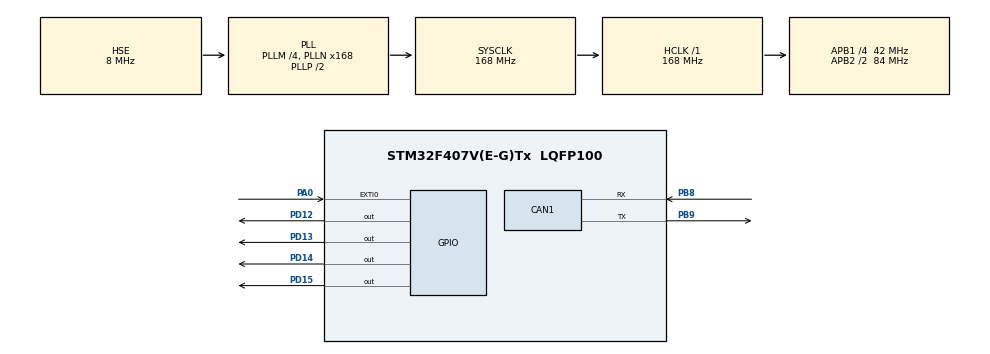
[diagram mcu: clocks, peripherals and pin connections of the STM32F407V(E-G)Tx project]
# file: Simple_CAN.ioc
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CAN1.BS1=CAN_BS1_3TQ
CAN1.BS2=CAN_BS2_5TQ
CAN1.CalculateTimeBit=3428
CAN1.CalculateTimeQuantum=380.95238095238096
Mcu.Family=STM32F4
Mcu.Name=STM32F407V(E-G)Tx
Mcu.Package=LQFP100
NVIC.CAN1_RX0_IRQn=true\:0\:0\:false\:false\:true
NVIC.EXTI0_IRQn=true\:0\:1\:false\:false\:true
NVIC.PriorityGroup=NVIC_PRIORITYGROUP_0
PA0-WKUP.Signal=GPXTI0
PB8.Mode=Master
PB8.Signal=CAN1_RX
PB9.Mode=Master
PB9.Signal=CAN1_TX
PD12.Signal=GPIO_Output
PD13.Signal=GPIO_Output
PD14.Signal=GPIO_Output
PD15.Signal=GPIO_Output
PH0-OSC_IN.Mode=HSE-External-Oscillator
PH0-OSC_IN.Signal=RCC_OSC_IN
PH1-OSC_OUT.Mode=HSE-External-Oscillator
PH1-OSC_OUT.Signal=RCC_OSC_OUT
ProjectManager.HeapSize=0x200
ProjectManager.StackSize=0x400
ProjectManager.TargetToolchain=MDK-ARM V5
RCC.48MHZClocksFreq_Value=48000000
RCC.AHBFreq_Value=168000000
RCC.APB1CLKDivider=RCC_HCLK_DIV4
RCC.APB1Freq_Value=42000000
RCC.APB1TimFreq_Value=84000000
RCC.APB2CLKDivider=RCC_HCLK_DIV2
RCC.APB2Freq_Value=84000000
RCC.APB2TimFreq_Value=168000000
RCC.CortexFreq_Value=168000000
RCC.HCLKFreq_Value=168000000
RCC.HSE_VALUE=8000000
RCC.HSI_VALUE=16000000
RCC.LSE_VALUE=32768
RCC.PLLM=4
RCC.PLLN=168
RCC.PLLQ=7
RCC.PLLSourceVirtual=RCC_PLLSOURCE_HSE
RCC.SYSCLKFreq_VALUE=168000000
RCC.SYSCLKSource=RCC_SYSCLKSOURCE_PLLCLK
RCC.VCOOutputFreq_Value=336000000
board=STM32F4DISCOVERY

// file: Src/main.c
/**
  ******************************************************************************
  * File Name          : main.c
  * Description        : Main program body
  ******************************************************************************
  *
  * COPYRIGHT(c) 2017 STMicroelectronics
  *
  * Redistribution and use in source and binary forms, with or without modification,
  * are permitted provided that the following conditions are met:
  *   1. Redistributions of source code must retain the above copyright notice,
  *      this list of conditions and the following disclaimer.
  *   2. Redistributions in binary form must reproduce the above copyright notice,
  *      this list of conditions and the following disclaimer in the documentation
  *      and/or other materials provided with the distribution.
  *   3. Neither the name of STMicroelectronics nor the names of its contributors
  *      may be used to endorse or promote products derived from this software
  *      without specific prior written permission.
  *
  * THIS SOFTWARE IS PROVIDED BY THE COPYRIGHT HOLDERS AND CONTRIBUTORS "AS IS"
  * AND ANY EXPRESS OR IMPLIED WARRANTIES, INCLUDING, BUT NOT LIMITED TO, THE
  * IMPLIED WARRANTIES OF MERCHANTABILITY AND FITNESS FOR A PARTICULAR PURPOSE ARE
  * DISCLAIMED. IN NO EVENT SHALL THE COPYRIGHT HOLDER OR CONTRIBUTORS BE LIABLE
  * FOR ANY DIRECT, INDIRECT, INCIDENTAL, SPECIAL, EXEMPLARY, OR CONSEQUENTIAL
  * DAMAGES (INCLUDING, BUT NOT LIMITED TO, PROCUREMENT OF SUBSTITUTE GOODS OR
  * SERVICES; LOSS OF USE, DATA, OR PROFITS; OR BUSINESS INTERRUPTION) HOWEVER
  * CAUSED AND ON ANY THEORY OF LIABILITY, WHETHER IN CONTRACT, STRICT LIABILITY,
  * OR TORT (INCLUDING NEGLIGENCE OR OTHERWISE) ARISING IN ANY WAY OUT OF THE USE
  * OF THIS SOFTWARE, EVEN IF ADVISED OF THE POSSIBILITY OF SUCH DAMAGE.
  *
  ******************************************************************************
  */
#include "stm32f4xx_hal.h"

CAN_HandleTypeDef hcan1;

/* USER CODE BEGIN PV */
CanTxMsgTypeDef   TxM;
CanRxMsgTypeDef   RxM;

CAN_FilterConfTypeDef sFilterConfig;

uint32_t a;
/* Private variables ---------------------------------------------------------*/

/* USER CODE END PV */

void SystemClock_Config(void);
void Error_Handler(void);
static void MX_GPIO_Init(void);
static void MX_CAN1_Init(void);

/* USER CODE BEGIN PFP */
/* Private function prototypes -----------------------------------------------*/

/* USER CODE END PFP */

int main(void)
{

  /* MCU Configuration----------------------------------------------------------*/

  /* Reset of all peripherals, Initializes the Flash interface and the Systick. */
  HAL_Init();

  /* Configure the system clock */
  SystemClock_Config();

  /* Initialize all configured peripherals */
  MX_GPIO_Init();
  MX_CAN1_Init();

  /* USER CODE BEGIN 2 */
hcan1.pTxMsg=&TxM;
hcan1.pRxMsg=&RxM;

sFilterConfig.FilterNumber=0;
sFilterConfig.FilterMode=CAN_FILTERMODE_IDLIST;
sFilterConfig.FilterScale=CAN_FILTERSCALE_32BIT;
#sFilterConfig.FilterIdHigh=0x123<<5;
sFilterConfig.FilterIdHigh=0x125<<5;
sFilterConfig.FilterIdLow=0;
sFilterConfig.FilterMaskIdHigh=0;
sFilterConfig.FilterMaskIdLow=0;
sFilterConfig.FilterFIFOAssignment=0;
sFilterConfig.BankNumber=14;

HAL_CAN_ConfigFilter(&hcan1,&sFilterConfig);

hcan1.pTxMsg->StdId=0x225;
#hcan1.pTxMsg->StdId=0x222;
hcan1.pTxMsg->RTR=CAN_RTR_DATA;
hcan1.pTxMsg->IDE=CAN_ID_STD;
hcan1.pTxMsg->DLC=1;

//HAL_CAN_Receive_IT(&hcan1,CAN_FIFO0);

  /* USER CODE END 2 */

  /* Infinite loop */
  while (1)
  {

	# if(HAL_CAN_Receive_IT(&hcan1,CAN_FIFO0))
	 if(HAL_CAN_Transmit_IT(&hcan1,CAN_FIFO0))

	  {
		#HAL_GPIO_TogglePin(GPIOD,GPIO_PIN_12);
		HAL_GPIO_TogglePin(GPIOD,GPIO_PIN_13);
	}

  }

}

/** System Clock Configuration
*/
void SystemClock_Config(void)
{

  RCC_OscInitTypeDef RCC_OscInitStruct;
  RCC_ClkInitTypeDef RCC_ClkInitStruct;

  __HAL_RCC_PWR_CLK_ENABLE();

  __HAL_PWR_VOLTAGESCALING_CONFIG(PWR_REGULATOR_VOLTAGE_SCALE1);

  RCC_OscInitStruct.OscillatorType = RCC_OSCILLATORTYPE_HSE;
  RCC_OscInitStruct.HSEState = RCC_HSE_ON;
  RCC_OscInitStruct.PLL.PLLState = RCC_PLL_ON;
  RCC_OscInitStruct.PLL.PLLSource = RCC_PLLSOURCE_HSE;
  RCC_OscInitStruct.PLL.PLLM = 4;
  RCC_OscInitStruct.PLL.PLLN = 168;
  RCC_OscInitStruct.PLL.PLLP = RCC_PLLP_DIV2;
  RCC_OscInitStruct.PLL.PLLQ = 7;
  if (HAL_RCC_OscConfig(&RCC_OscInitStruct) != HAL_OK)
  {
    Error_Handler();
  }

  RCC_ClkInitStruct.ClockType = RCC_CLOCKTYPE_HCLK|RCC_CLOCKTYPE_SYSCLK
                              |RCC_CLOCKTYPE_PCLK1|RCC_CLOCKTYPE_PCLK2;
  RCC_ClkInitStruct.SYSCLKSource = RCC_SYSCLKSOURCE_PLLCLK;
  RCC_ClkInitStruct.AHBCLKDivider = RCC_SYSCLK_DIV1;
  RCC_ClkInitStruct.APB1CLKDivider = RCC_HCLK_DIV4;
  RCC_ClkInitStruct.APB2CLKDivider = RCC_HCLK_DIV2;
  if (HAL_RCC_ClockConfig(&RCC_ClkInitStruct, FLASH_LATENCY_5) != HAL_OK)
  {
    Error_Handler();
  }

  HAL_SYSTICK_Config(HAL_RCC_GetHCLKFreq()/1000);

  HAL_SYSTICK_CLKSourceConfig(SYSTICK_CLKSOURCE_HCLK);

  /* SysTick_IRQn interrupt configuration */
  HAL_NVIC_SetPriority(SysTick_IRQn, 0, 0);
}

/* CAN1 init function */
static void MX_CAN1_Init(void)
{

  hcan1.Instance = CAN1;
  hcan1.Init.Prescaler = 16;
  hcan1.Init.Mode = CAN_MODE_NORMAL;
  hcan1.Init.SJW = CAN_SJW_1TQ;
  hcan1.Init.BS1 = CAN_BS1_3TQ;
  hcan1.Init.BS2 = CAN_BS2_5TQ;
  hcan1.Init.TTCM = DISABLE;
  hcan1.Init.ABOM = DISABLE;
  hcan1.Init.AWUM = DISABLE;
  hcan1.Init.NART = DISABLE;
  hcan1.Init.RFLM = DISABLE;
  hcan1.Init.TXFP = DISABLE;
  if (HAL_CAN_Init(&hcan1) != HAL_OK)
  {
    Error_Handler();
  }

}

/** Configure pins as
        * Analog
        * Input
        * Output
        * EVENT_OUT
        * EXTI
*/
static void MX_GPIO_Init(void)
{

  GPIO_InitTypeDef GPIO_InitStruct;

  /* GPIO Ports Clock Enable */
  __HAL_RCC_GPIOH_CLK_ENABLE();
  __HAL_RCC_GPIOA_CLK_ENABLE();
  __HAL_RCC_GPIOD_CLK_ENABLE();
  __HAL_RCC_GPIOB_CLK_ENABLE();

  /*Configure GPIO pin : PA0 */
  GPIO_InitStruct.Pin = GPIO_PIN_0;
  GPIO_InitStruct.Mode = GPIO_MODE_IT_RISING;
  GPIO_InitStruct.Pull = GPIO_NOPULL;
  HAL_GPIO_Init(GPIOA, &GPIO_InitStruct);

  /*Configure GPIO pins : PD12 PD13 PD14 PD15 */
  GPIO_InitStruct.Pin = GPIO_PIN_12|GPIO_PIN_13|GPIO_PIN_14|GPIO_PIN_15;
  GPIO_InitStruct.Mode = GPIO_MODE_OUTPUT_PP;
  GPIO_InitStruct.Pull = GPIO_NOPULL;
  GPIO_InitStruct.Speed = GPIO_SPEED_FREQ_LOW;
  HAL_GPIO_Init(GPIOD, &GPIO_InitStruct);

  /*Configure GPIO pin Output Level */
  HAL_GPIO_WritePin(GPIOD, GPIO_PIN_12|GPIO_PIN_13|GPIO_PIN_14|GPIO_PIN_15, GPIO_PIN_RESET);

  /* EXTI interrupt init*/
  HAL_NVIC_SetPriority(EXTI0_IRQn, 0, 1);
  HAL_NVIC_EnableIRQ(EXTI0_IRQn);

}

void Error_Handler(void)
{
  while(1)
  {
  }
}

/************************ (C) COPYRIGHT STMicroelectronics *****END OF FILE****/
